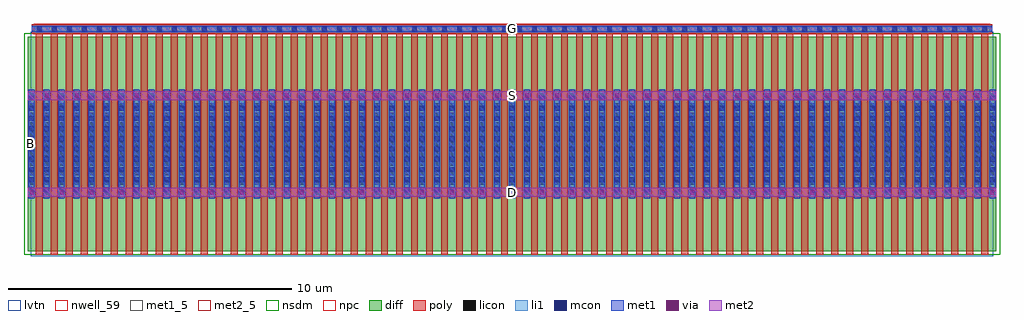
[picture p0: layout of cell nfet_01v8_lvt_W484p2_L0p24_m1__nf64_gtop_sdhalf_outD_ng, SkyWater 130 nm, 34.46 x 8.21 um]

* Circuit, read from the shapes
.subckt nfet_01v8_lvt_W484p2_L0p24_m1__nf64_gtop_sdhalf_outD_ng B D G S
XM1 S G D B sky130_fd_pr__nfet_01v8_lvt w=7.57 l=0.24 m=64
.ends

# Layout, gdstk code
import gdstk
lib = gdstk.Library(unit=1e-6, precision=1e-09)
def R(c, l, rs):  # rectangles x0, y0, x1, y1
    for r in rs: c.add(gdstk.rectangle(r[:2], r[2:], *l))
def A(c, l, x, y, w, h, nx, ny, dx, dy):  # array of equal rectangles
    R(c, l, [(x+i*dx, y+j*dy, x+i*dx+w, y+j*dy+h) for i in range(nx) for j in range(ny)])
nwell_59 = (64, 59)
diff = (65, 20)
poly = (66, 20)
licon = (66, 44)
li1 = (67, 20)
mcon = (67, 44)
met1_5 = (68, 5)
met1 = (68, 20)
via = (68, 44)
met2_5 = (69, 5)
met2 = (69, 20)
nsdm = (93, 44)
npc = (95, 20)
lvtn = (125, 44)

sky130_fd_pr__nfet_01v8_ = lib.new_cell('sky130_fd_pr__nfet_01v8_lvt_45RWUB')
R(sky130_fd_pr__nfet_01v8_, diff, [(-17.105,-3.94,17.105,3.63)])
A(sky130_fd_pr__nfet_01v8_, poly, -16.815, -4.07, 0.24, 7.81, 64, 1, 0.53, 0)
R(sky130_fd_pr__nfet_01v8_, poly, [(-16.96,3.74,16.96,4.07)])
A(sky130_fd_pr__nfet_01v8_, licon, -17.045, -1.94, 0.17, 0.17, 65, 11, 0.53, 0.34)
A(sky130_fd_pr__nfet_01v8_, licon, -16.78, 3.82, 0.17, 0.17, 64, 1, 0.53, 0)
A(sky130_fd_pr__nfet_01v8_, li1, -17.045, -2.095, 0.17, 3.88, 65, 1, 0.53, 0)
R(sky130_fd_pr__nfet_01v8_, li1, [(-16.96,3.82,16.96,3.99)])
A(sky130_fd_pr__nfet_01v8_, mcon, -17.045, -1.86, 0.17, 0.17, 65, 10, 0.53, 0.36)
A(sky130_fd_pr__nfet_01v8_, mcon, -16.78, 3.82, 0.17, 0.17, 64, 1, 0.53, 0)
A(sky130_fd_pr__nfet_01v8_, met1, -17.075, -2.075, 0.23, 3.84, 65, 1, 0.53, 0)
A(sky130_fd_pr__nfet_01v8_, met1, -16.84, 3.79, 0.29, 0.03, 64, 2, 0.53, 0.2)
R(sky130_fd_pr__nfet_01v8_, met1, [(-16.96,3.82,16.96,3.99)])
R(sky130_fd_pr__nfet_01v8_, nsdm, [(-17.23,-4.065,17.23,3.755)])
R(sky130_fd_pr__nfet_01v8_, npc, [(-16.88,3.72,16.88,4.09)])
R(sky130_fd_pr__nfet_01v8_, lvtn, [(-16.995,-4.12,16.995,3.81)])
sky130_fd_pr__nfet_01v8_.add(gdstk.Label('D0', (-16.96,-0.155), layer=67, texttype=5))
sky130_fd_pr__nfet_01v8_.add(gdstk.Label('G', (16.695,3.905), layer=67, texttype=5))
sky130_fd_pr__nfet_01v8_.add(gdstk.Label('G', (16.165,3.905), layer=67, texttype=5))
sky130_fd_pr__nfet_01v8_.add(gdstk.Label('G', (15.635,3.905), layer=67, texttype=5))
sky130_fd_pr__nfet_01v8_.add(gdstk.Label('G', (15.105,3.905), layer=67, texttype=5))
sky130_fd_pr__nfet_01v8_.add(gdstk.Label('G', (14.575,3.905), layer=67, texttype=5))
sky130_fd_pr__nfet_01v8_.add(gdstk.Label('G', (14.045,3.905), layer=67, texttype=5))
sky130_fd_pr__nfet_01v8_.add(gdstk.Label('G', (13.515,3.905), layer=67, texttype=5))
sky130_fd_pr__nfet_01v8_.add(gdstk.Label('G', (12.985,3.905), layer=67, texttype=5))
sky130_fd_pr__nfet_01v8_.add(gdstk.Label('G', (12.455,3.905), layer=67, texttype=5))
sky130_fd_pr__nfet_01v8_.add(gdstk.Label('G', (11.925,3.905), layer=67, texttype=5))
sky130_fd_pr__nfet_01v8_.add(gdstk.Label('G', (11.395,3.905), layer=67, texttype=5))
sky130_fd_pr__nfet_01v8_.add(gdstk.Label('G', (10.865,3.905), layer=67, texttype=5))
sky130_fd_pr__nfet_01v8_.add(gdstk.Label('G', (10.335,3.905), layer=67, texttype=5))
sky130_fd_pr__nfet_01v8_.add(gdstk.Label('G', (9.805,3.905), layer=67, texttype=5))
sky130_fd_pr__nfet_01v8_.add(gdstk.Label('G', (9.275,3.905), layer=67, texttype=5))
sky130_fd_pr__nfet_01v8_.add(gdstk.Label('G', (8.745,3.905), layer=67, texttype=5))
sky130_fd_pr__nfet_01v8_.add(gdstk.Label('G', (8.215,3.905), layer=67, texttype=5))
sky130_fd_pr__nfet_01v8_.add(gdstk.Label('G', (7.685,3.905), layer=67, texttype=5))
sky130_fd_pr__nfet_01v8_.add(gdstk.Label('G', (7.155,3.905), layer=67, texttype=5))
sky130_fd_pr__nfet_01v8_.add(gdstk.Label('G', (6.625,3.905), layer=67, texttype=5))
sky130_fd_pr__nfet_01v8_.add(gdstk.Label('G', (6.095,3.905), layer=67, texttype=5))
sky130_fd_pr__nfet_01v8_.add(gdstk.Label('G', (5.565,3.905), layer=67, texttype=5))
sky130_fd_pr__nfet_01v8_.add(gdstk.Label('G', (5.035,3.905), layer=67, texttype=5))
sky130_fd_pr__nfet_01v8_.add(gdstk.Label('G', (4.505,3.905), layer=67, texttype=5))
sky130_fd_pr__nfet_01v8_.add(gdstk.Label('G', (3.975,3.905), layer=67, texttype=5))
sky130_fd_pr__nfet_01v8_.add(gdstk.Label('G', (3.445,3.905), layer=67, texttype=5))
sky130_fd_pr__nfet_01v8_.add(gdstk.Label('G', (2.915,3.905), layer=67, texttype=5))
sky130_fd_pr__nfet_01v8_.add(gdstk.Label('G', (2.385,3.905), layer=67, texttype=5))
sky130_fd_pr__nfet_01v8_.add(gdstk.Label('G', (1.855,3.905), layer=67, texttype=5))
sky130_fd_pr__nfet_01v8_.add(gdstk.Label('G', (1.325,3.905), layer=67, texttype=5))
sky130_fd_pr__nfet_01v8_.add(gdstk.Label('G', (0.795,3.905), layer=67, texttype=5))
sky130_fd_pr__nfet_01v8_.add(gdstk.Label('G', (0.265,3.905), layer=67, texttype=5))
sky130_fd_pr__nfet_01v8_.add(gdstk.Label('G', (-0.265,3.905), layer=67, texttype=5))
sky130_fd_pr__nfet_01v8_.add(gdstk.Label('G', (-0.795,3.905), layer=67, texttype=5))
sky130_fd_pr__nfet_01v8_.add(gdstk.Label('G', (-1.325,3.905), layer=67, texttype=5))
sky130_fd_pr__nfet_01v8_.add(gdstk.Label('G', (-1.855,3.905), layer=67, texttype=5))
sky130_fd_pr__nfet_01v8_.add(gdstk.Label('G', (-2.385,3.905), layer=67, texttype=5))
sky130_fd_pr__nfet_01v8_.add(gdstk.Label('G', (-2.915,3.905), layer=67, texttype=5))
sky130_fd_pr__nfet_01v8_.add(gdstk.Label('G', (-3.445,3.905), layer=67, texttype=5))
sky130_fd_pr__nfet_01v8_.add(gdstk.Label('G', (-3.975,3.905), layer=67, texttype=5))
sky130_fd_pr__nfet_01v8_.add(gdstk.Label('G', (-4.505,3.905), layer=67, texttype=5))
sky130_fd_pr__nfet_01v8_.add(gdstk.Label('G', (-5.035,3.905), layer=67, texttype=5))
sky130_fd_pr__nfet_01v8_.add(gdstk.Label('G', (-5.565,3.905), layer=67, texttype=5))
sky130_fd_pr__nfet_01v8_.add(gdstk.Label('G', (-6.095,3.905), layer=67, texttype=5))
sky130_fd_pr__nfet_01v8_.add(gdstk.Label('G', (-6.625,3.905), layer=67, texttype=5))
sky130_fd_pr__nfet_01v8_.add(gdstk.Label('G', (-7.155,3.905), layer=67, texttype=5))
sky130_fd_pr__nfet_01v8_.add(gdstk.Label('G', (-7.685,3.905), layer=67, texttype=5))
sky130_fd_pr__nfet_01v8_.add(gdstk.Label('G', (-8.215,3.905), layer=67, texttype=5))
sky130_fd_pr__nfet_01v8_.add(gdstk.Label('G', (-8.745,3.905), layer=67, texttype=5))
sky130_fd_pr__nfet_01v8_.add(gdstk.Label('G', (-9.275,3.905), layer=67, texttype=5))
sky130_fd_pr__nfet_01v8_.add(gdstk.Label('G', (-9.805,3.905), layer=67, texttype=5))
sky130_fd_pr__nfet_01v8_.add(gdstk.Label('G', (-10.335,3.905), layer=67, texttype=5))
sky130_fd_pr__nfet_01v8_.add(gdstk.Label('G', (-10.865,3.905), layer=67, texttype=5))
sky130_fd_pr__nfet_01v8_.add(gdstk.Label('G', (-11.395,3.905), layer=67, texttype=5))
sky130_fd_pr__nfet_01v8_.add(gdstk.Label('G', (-11.925,3.905), layer=67, texttype=5))
sky130_fd_pr__nfet_01v8_.add(gdstk.Label('G', (-12.455,3.905), layer=67, texttype=5))
sky130_fd_pr__nfet_01v8_.add(gdstk.Label('G', (-12.985,3.905), layer=67, texttype=5))
sky130_fd_pr__nfet_01v8_.add(gdstk.Label('G', (-13.515,3.905), layer=67, texttype=5))
sky130_fd_pr__nfet_01v8_.add(gdstk.Label('G', (-14.045,3.905), layer=67, texttype=5))
sky130_fd_pr__nfet_01v8_.add(gdstk.Label('G', (-14.575,3.905), layer=67, texttype=5))
sky130_fd_pr__nfet_01v8_.add(gdstk.Label('G', (-15.105,3.905), layer=67, texttype=5))
sky130_fd_pr__nfet_01v8_.add(gdstk.Label('G', (-15.635,3.905), layer=67, texttype=5))
sky130_fd_pr__nfet_01v8_.add(gdstk.Label('G', (-16.165,3.905), layer=67, texttype=5))
sky130_fd_pr__nfet_01v8_.add(gdstk.Label('G', (-16.695,3.905), layer=67, texttype=5))
sky130_fd_pr__nfet_01v8_.add(gdstk.Label('S1', (-16.43,-0.155), layer=67, texttype=5))
sky130_fd_pr__nfet_01v8_.add(gdstk.Label('D2', (-15.9,-0.155), layer=67, texttype=5))
sky130_fd_pr__nfet_01v8_.add(gdstk.Label('S3', (-15.37,-0.155), layer=67, texttype=5))
sky130_fd_pr__nfet_01v8_.add(gdstk.Label('D4', (-14.84,-0.155), layer=67, texttype=5))
sky130_fd_pr__nfet_01v8_.add(gdstk.Label('S5', (-14.31,-0.155), layer=67, texttype=5))
sky130_fd_pr__nfet_01v8_.add(gdstk.Label('D6', (-13.78,-0.155), layer=67, texttype=5))
sky130_fd_pr__nfet_01v8_.add(gdstk.Label('S7', (-13.25,-0.155), layer=67, texttype=5))
sky130_fd_pr__nfet_01v8_.add(gdstk.Label('D8', (-12.72,-0.155), layer=67, texttype=5))
sky130_fd_pr__nfet_01v8_.add(gdstk.Label('S9', (-12.19,-0.155), layer=67, texttype=5))
sky130_fd_pr__nfet_01v8_.add(gdstk.Label('D10', (-11.66,-0.155), layer=67, texttype=5))
sky130_fd_pr__nfet_01v8_.add(gdstk.Label('S11', (-11.13,-0.155), layer=67, texttype=5))
sky130_fd_pr__nfet_01v8_.add(gdstk.Label('D12', (-10.6,-0.155), layer=67, texttype=5))
sky130_fd_pr__nfet_01v8_.add(gdstk.Label('S13', (-10.07,-0.155), layer=67, texttype=5))
sky130_fd_pr__nfet_01v8_.add(gdstk.Label('D14', (-9.54,-0.155), layer=67, texttype=5))
sky130_fd_pr__nfet_01v8_.add(gdstk.Label('S15', (-9.01,-0.155), layer=67, texttype=5))
sky130_fd_pr__nfet_01v8_.add(gdstk.Label('D16', (-8.48,-0.155), layer=67, texttype=5))
sky130_fd_pr__nfet_01v8_.add(gdstk.Label('S17', (-7.95,-0.155), layer=67, texttype=5))
sky130_fd_pr__nfet_01v8_.add(gdstk.Label('D18', (-7.42,-0.155), layer=67, texttype=5))
sky130_fd_pr__nfet_01v8_.add(gdstk.Label('S19', (-6.89,-0.155), layer=67, texttype=5))
sky130_fd_pr__nfet_01v8_.add(gdstk.Label('D20', (-6.36,-0.155), layer=67, texttype=5))
sky130_fd_pr__nfet_01v8_.add(gdstk.Label('S21', (-5.83,-0.155), layer=67, texttype=5))
sky130_fd_pr__nfet_01v8_.add(gdstk.Label('D22', (-5.3,-0.155), layer=67, texttype=5))
sky130_fd_pr__nfet_01v8_.add(gdstk.Label('S23', (-4.77,-0.155), layer=67, texttype=5))
sky130_fd_pr__nfet_01v8_.add(gdstk.Label('D24', (-4.24,-0.155), layer=67, texttype=5))
sky130_fd_pr__nfet_01v8_.add(gdstk.Label('S25', (-3.71,-0.155), layer=67, texttype=5))
sky130_fd_pr__nfet_01v8_.add(gdstk.Label('D26', (-3.18,-0.155), layer=67, texttype=5))
sky130_fd_pr__nfet_01v8_.add(gdstk.Label('S27', (-2.65,-0.155), layer=67, texttype=5))
sky130_fd_pr__nfet_01v8_.add(gdstk.Label('D28', (-2.12,-0.155), layer=67, texttype=5))
sky130_fd_pr__nfet_01v8_.add(gdstk.Label('S29', (-1.59,-0.155), layer=67, texttype=5))
sky130_fd_pr__nfet_01v8_.add(gdstk.Label('D30', (-1.06,-0.155), layer=67, texttype=5))
sky130_fd_pr__nfet_01v8_.add(gdstk.Label('S31', (-0.53,-0.155), layer=67, texttype=5))
sky130_fd_pr__nfet_01v8_.add(gdstk.Label('D32', (0,-0.155), layer=67, texttype=5))
sky130_fd_pr__nfet_01v8_.add(gdstk.Label('S33', (0.53,-0.155), layer=67, texttype=5))
sky130_fd_pr__nfet_01v8_.add(gdstk.Label('D34', (1.06,-0.155), layer=67, texttype=5))
sky130_fd_pr__nfet_01v8_.add(gdstk.Label('S35', (1.59,-0.155), layer=67, texttype=5))
sky130_fd_pr__nfet_01v8_.add(gdstk.Label('D36', (2.12,-0.155), layer=67, texttype=5))
sky130_fd_pr__nfet_01v8_.add(gdstk.Label('S37', (2.65,-0.155), layer=67, texttype=5))
sky130_fd_pr__nfet_01v8_.add(gdstk.Label('D38', (3.18,-0.155), layer=67, texttype=5))
sky130_fd_pr__nfet_01v8_.add(gdstk.Label('S39', (3.71,-0.155), layer=67, texttype=5))
sky130_fd_pr__nfet_01v8_.add(gdstk.Label('D40', (4.24,-0.155), layer=67, texttype=5))
sky130_fd_pr__nfet_01v8_.add(gdstk.Label('S41', (4.77,-0.155), layer=67, texttype=5))
sky130_fd_pr__nfet_01v8_.add(gdstk.Label('D42', (5.3,-0.155), layer=67, texttype=5))
sky130_fd_pr__nfet_01v8_.add(gdstk.Label('S43', (5.83,-0.155), layer=67, texttype=5))
sky130_fd_pr__nfet_01v8_.add(gdstk.Label('D44', (6.36,-0.155), layer=67, texttype=5))
sky130_fd_pr__nfet_01v8_.add(gdstk.Label('S45', (6.89,-0.155), layer=67, texttype=5))
sky130_fd_pr__nfet_01v8_.add(gdstk.Label('D46', (7.42,-0.155), layer=67, texttype=5))
sky130_fd_pr__nfet_01v8_.add(gdstk.Label('S47', (7.95,-0.155), layer=67, texttype=5))
sky130_fd_pr__nfet_01v8_.add(gdstk.Label('D48', (8.48,-0.155), layer=67, texttype=5))
sky130_fd_pr__nfet_01v8_.add(gdstk.Label('S49', (9.01,-0.155), layer=67, texttype=5))
sky130_fd_pr__nfet_01v8_.add(gdstk.Label('D50', (9.54,-0.155), layer=67, texttype=5))
sky130_fd_pr__nfet_01v8_.add(gdstk.Label('S51', (10.07,-0.155), layer=67, texttype=5))
sky130_fd_pr__nfet_01v8_.add(gdstk.Label('D52', (10.6,-0.155), layer=67, texttype=5))
sky130_fd_pr__nfet_01v8_.add(gdstk.Label('S53', (11.13,-0.155), layer=67, texttype=5))
sky130_fd_pr__nfet_01v8_.add(gdstk.Label('D54', (11.66,-0.155), layer=67, texttype=5))
sky130_fd_pr__nfet_01v8_.add(gdstk.Label('S55', (12.19,-0.155), layer=67, texttype=5))
sky130_fd_pr__nfet_01v8_.add(gdstk.Label('D56', (12.72,-0.155), layer=67, texttype=5))
sky130_fd_pr__nfet_01v8_.add(gdstk.Label('S57', (13.25,-0.155), layer=67, texttype=5))
sky130_fd_pr__nfet_01v8_.add(gdstk.Label('D58', (13.78,-0.155), layer=67, texttype=5))
sky130_fd_pr__nfet_01v8_.add(gdstk.Label('S59', (14.31,-0.155), layer=67, texttype=5))
sky130_fd_pr__nfet_01v8_.add(gdstk.Label('D60', (14.84,-0.155), layer=67, texttype=5))
sky130_fd_pr__nfet_01v8_.add(gdstk.Label('S61', (15.37,-0.155), layer=67, texttype=5))
sky130_fd_pr__nfet_01v8_.add(gdstk.Label('D62', (15.9,-0.155), layer=67, texttype=5))
sky130_fd_pr__nfet_01v8_.add(gdstk.Label('S63', (16.43,-0.155), layer=67, texttype=5))

nfet_01v8_lvt_w484p2_l0p = lib.new_cell('nfet_01v8_lvt_W484p2_L0p24_m1__nf64_gtop_sdhalf_outD_ng')
R(nfet_01v8_lvt_w484p2_l0p, nwell_59, [(0.05,3.865,0.15,3.965)])
R(nfet_01v8_lvt_w484p2_l0p, met1_5, [(0.145,7.86,34.065,8.09)])
A(nfet_01v8_lvt_w484p2_l0p, met1, 0.015, 2.045, 0.26, 0.32, 33, 1, 1.06, 0)
A(nfet_01v8_lvt_w484p2_l0p, met1, 0.545, 5.465, 0.26, 0.32, 32, 1, 1.06, 0)
R(nfet_01v8_lvt_w484p2_l0p, met1, [(0.145,7.86,34.065,8.09)])
A(nfet_01v8_lvt_w484p2_l0p, via, 0.07, 2.13, 0.15, 0.15, 33, 1, 1.06, 0)
A(nfet_01v8_lvt_w484p2_l0p, via, 0.6, 5.55, 0.15, 0.15, 32, 1, 1.06, 0)
R(nfet_01v8_lvt_w484p2_l0p, met2_5, [(0.01,2.045,34.2,2.365), (0.01,5.465,34.2,5.785)])
R(nfet_01v8_lvt_w484p2_l0p, met2, [(0.01,2.045,34.2,2.365), (0.01,5.465,34.2,5.785)])
nfet_01v8_lvt_w484p2_l0p.add(gdstk.Reference(sky130_fd_pr__nfet_01v8_, (17.105,4.07)))
nfet_01v8_lvt_w484p2_l0p.add(gdstk.Label('S', (17.105,5.625), layer=69, texttype=5))
nfet_01v8_lvt_w484p2_l0p.add(gdstk.Label('D', (17.105,2.205), layer=69, texttype=5))
nfet_01v8_lvt_w484p2_l0p.add(gdstk.Label('G', (17.105,7.975), layer=68, texttype=5))
nfet_01v8_lvt_w484p2_l0p.add(gdstk.Label('B', (0.1,3.915), layer=64, texttype=59))

lib.write_gds('nfet_01v8_lvt_W484p2_L0p24_m1__nf64_gtop_sdhalf_outD_ng.gds')
